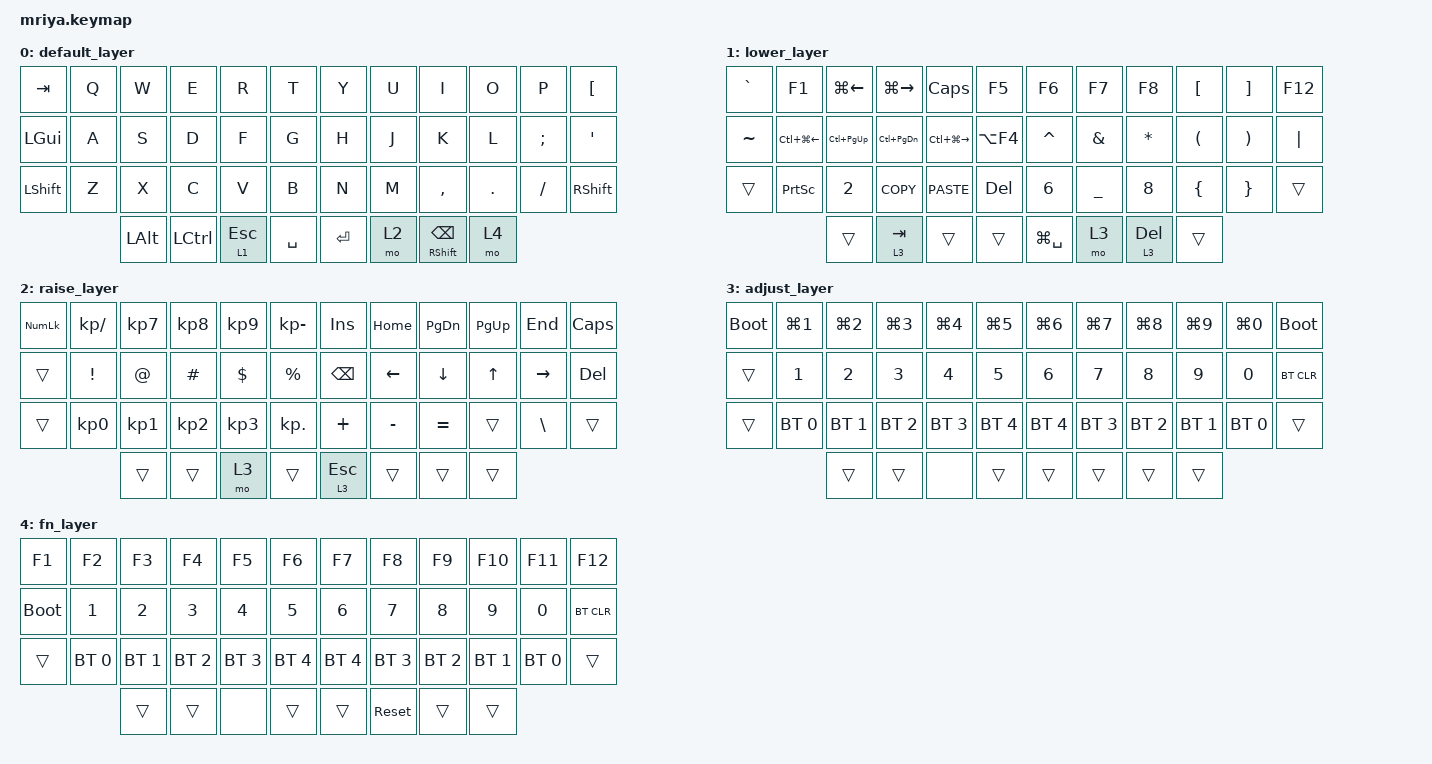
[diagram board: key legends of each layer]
#include <behaviors.dtsi>
#include <dt-bindings/zmk/bt.h>
#include <dt-bindings/zmk/keys.h>

#define DEF 0
#define LWR 1
#define RSE 2
#define ADJ 3
#define FN 4

&lt {
    quick_tap_ms = <200>;
};

&mt {
    quick_tap_ms = <200>;
};

/ {
    keymap {
        compatible = "zmk,keymap";

        default_layer {
            bindings = <

// ╭──────────────────┬──────────────────┬──────────────────┬──────────────────┬──────────────────┬──────────────────╮    ╭──────────────────┬──────────────────┬─────────────────┬──────────────────┬──────────────────┬──────────────────╮
     &kp TAB            &kp Q              &kp W              &kp E              &kp R              &kp T                   &kp Y              &kp U              &kp I             &kp O              &kp P              &kp LBKT
// ├──────────────────┼──────────────────┼──────────────────┼──────────────────┼──────────────────┼──────────────────┤    ├──────────────────┼──────────────────┼─────────────────┼──────────────────┼──────────────────┼──────────────────┤
     &kp LGUI           &kp A              &kp S              &kp D              &kp F              &kp G                   &kp H              &kp J              &kp K             &kp L              &kp SEMI           &kp SQT
// ├──────────────────┼──────────────────┼──────────────────┼──────────────────┼──────────────────┼──────────────────┤    ├──────────────────┼──────────────────┼─────────────────┼──────────────────┼──────────────────┼──────────────────┤
     &kp LSHFT          &kp Z              &kp X              &kp C              &kp V              &kp B                   &kp N              &kp M              &kp COMMA         &kp DOT            &kp FSLH           &kp RSHFT
// ╰──────────────────┴──────────────────┴──────────────────┴──────────────────┼──────────────────┼──────────────────┤    ├──────────────────┼──────────────────┼─────────────────┼──────────────────┼──────────────────┴──────────────────╯
                                           &kp LALT           &kp LCTRL          &lt 1 ESC          &kp SPACE               &kp RET            &mo 2              &mt RSHFT BSPC    &mo 4
//                                       ╰──────────────────┴──────────────────┴──────────────────┴──────────────────╯    ╰──────────────────┴──────────────────┴─────────────────┴──────────────────╯

//   &mt LEFT_ALT TAB  &kp Q  &kp W     &kp E      &kp R      &kp T                 &kp Y    &kp U  &kp I           &kp O    &kp P     &kp LBKT
//   &sk LGUI          &kp A  &kp S     &kp D      &kp F      &kp G                 &kp H    &kp J  &kp K           &kp L    &kp SEMI  &kp SQT
//   &kp LSHFT         &kp Z  &kp X     &kp C      &kp V      &kp B                 &kp N    &kp M  &kp COMMA       &kp DOT  &kp FSLH  &kp RSHFT
//                            &kp LALT  &kp LCTRL  &lt 1 ESC  &kp SPACE             &kp RET  &mo 2  &mt RSHFT BSPC  &mo 4
            >;
        };

        lower_layer {
            bindings = <

// ╭──────────────────┬──────────────────┬──────────────────┬──────────────────┬──────────────────┬──────────────────╮    ╭──────────────────┬──────────────────┬─────────────────┬──────────────────┬──────────────────┬──────────────────╮
     &kp GRAVE          &kp F1             &kp LG(LEFT)       &kp LG(RIGHT)      &kp CAPSLOCK       &kp F5                  &kp F6             &kp F7             &kp F8            &kp LBKT           &kp RBKT           &kp F12
// ├──────────────────┼──────────────────┼──────────────────┼──────────────────┼──────────────────┼──────────────────┤    ├──────────────────┼──────────────────┼─────────────────┼──────────────────┼──────────────────┼──────────────────┤
     &kp TILDE          &kp LC(LG(LEFT))   &kp LC(PG_UP)      &kp LC(PG_DN)      &kp LC(LG(RIGHT))  &kp LA(F4)              &kp CARET          &kp AMPS           &kp STAR          &kp LPAR           &kp RPAR           &kp PIPE
// ├──────────────────┼──────────────────┼──────────────────┼──────────────────┼──────────────────┼──────────────────┤    ├──────────────────┼──────────────────┼─────────────────┼──────────────────┼──────────────────┼──────────────────┤
     &trans             &kp PSCRN          &kp N2             &kp K_COPY         &kp K_PASTE        &kp DEL                 &kp N6             &kp UNDER          &kp N8            &kp LBRC           &kp RBRC           &trans
// ╰──────────────────┴──────────────────┴──────────────────┴──────────────────┼──────────────────┼──────────────────┤    ├──────────────────┼──────────────────┼─────────────────┼──────────────────┼──────────────────┴──────────────────╯
                                           &trans             &lt 3 TAB          &trans             &trans                  &kp LG(SPACE)      &mo 3              &lt 3 DEL         &trans
//                                       ╰──────────────────┴──────────────────┴──────────────────┴──────────────────╯    ╰──────────────────┴──────────────────┴─────────────────┴──────────────────╯

//   &kp GRAVE  &kp F1            &kp LG(LEFT)   &kp LG(RIGHT)  &kp F4             &kp F5        &kp F6         &kp F7     &kp F8     &kp LBKT  &kp RBKT  &kp F12
//   &kp TILDE  &kp LC(LG(LEFT))  &kp LC(PG_UP)  &kp LC(PG_DN)  &kp LC(LG(RIGHT))  &kp LA(F4)    &kp CARET      &kp AMPS   &kp STAR   &kp LPAR  &kp RPAR  &kp PIPE
//   &trans     &kp PSCRN         &kp N2         &kp LS(LC(C))  &kp LS(LC(V))      &kp DEL       &kp N6         &kp UNDER  &kp N8     &kp LBRC  &kp RBRC  &trans
//                                &trans         &lt 3 TAB      &trans             &trans        &kp LG(SPACE)  &mo 3      &lt 3 DEL  &trans
            >;
        };

        raise_layer {
            bindings = <

// ╭──────────────────┬──────────────────┬──────────────────┬──────────────────┬──────────────────┬──────────────────╮    ╭──────────────────┬──────────────────┬─────────────────┬──────────────────┬──────────────────┬──────────────────╮
     &kp KP_NUM         &kp KP_SLASH       &kp KP_N7          &kp KP_N8          &kp KP_N9          &kp KP_MINUS            &kp INS            &kp HOME           &kp PG_DN         &kp PG_UP          &kp END            &kp CAPS
// ├──────────────────┼──────────────────┼──────────────────┼──────────────────┼──────────────────┼──────────────────┤    ├──────────────────┼──────────────────┼─────────────────┼──────────────────┼──────────────────┼──────────────────┤
     &trans             &kp EXCL           &kp AT             &kp HASH           &kp DLLR           &kp PRCNT               &kp BSPC           &kp LEFT           &kp DOWN          &kp UP             &kp RIGHT          &kp DEL
// ├──────────────────┼──────────────────┼──────────────────┼──────────────────┼──────────────────┼──────────────────┤    ├──────────────────┼──────────────────┼─────────────────┼──────────────────┼──────────────────┼──────────────────┤
     &trans             &kp KP_N0          &kp KP_N1          &kp KP_N2          &kp KP_N3          &kp KP_DOT              &kp PLUS           &kp MINUS          &kp EQUAL         &trans             &kp BSLH           &trans
// ╰──────────────────┴──────────────────┴──────────────────┴──────────────────┼──────────────────┼──────────────────┤    ├──────────────────┼──────────────────┼─────────────────┼──────────────────┼──────────────────┴──────────────────╯
                                           &trans             &trans             &mo 3              &trans                  &lt 3 ESC          &trans             &trans            &trans
//                                       ╰──────────────────┴──────────────────┴──────────────────┴──────────────────╯    ╰──────────────────┴──────────────────┴─────────────────┴──────────────────╯

//   &kp KP_NUM  &kp KP_SLASH  &kp KP_N7  &kp KP_N8  &kp KP_N9  &kp KP_MINUS    &kp INS    &kp HOME   &kp PG_DN  &kp PG_UP  &kp END    &kp CAPS
//   &trans      &kp EXCL      &kp AT     &kp HASH   &kp DLLR   &kp PRCNT       &kp BSPC   &kp LEFT   &kp DOWN   &kp UP     &kp RIGHT  &kp DEL
//   &trans      &kp KP_N0     &kp KP_N1  &kp KP_N2  &kp KP_N3  &kp KP_DOT      &kp PLUS   &kp MINUS  &kp EQUAL  &trans     &trans     &trans
//                             &trans     &trans     &mo 3      &trans          &lt 3 ESC  &trans     &trans     &trans
            >;
        };

        adjust_layer {
            bindings = <
  &bootloader  &kp LG(N1)    &kp LG(N2)    &kp LG(N3)    &kp LG(N4)    &kp LG(N5)      &kp LG(N6)    &kp LG(N7)    &kp LG(N8)    &kp LG(N9)    &kp LG(N0)    &bootloader
  &trans       &kp N1        &kp N2        &kp N3        &kp N4        &kp N5          &kp N6        &kp N7        &kp N8        &kp N9        &kp N0        &bt BT_CLR
  &trans       &bt BT_SEL 0  &bt BT_SEL 1  &bt BT_SEL 2  &bt BT_SEL 3  &bt BT_SEL 4    &bt BT_SEL 4  &bt BT_SEL 3  &bt BT_SEL 2  &bt BT_SEL 1  &bt BT_SEL 0  &trans
                             &trans        &trans        &none         &trans          &trans        &trans        &trans        &trans
            >;
        };

        fn_layer {
            bindings = <
  &kp F1       &kp F2        &kp F3        &kp F4        &kp F5        &kp F6          &kp F7        &kp F8        &kp F9        &kp F10       &kp F11       &kp F12
  &bootloader  &kp N1        &kp N2        &kp N3        &kp N4        &kp N5          &kp N6        &kp N7        &kp N8        &kp N9        &kp N0        &bt BT_CLR
  &trans       &bt BT_SEL 0  &bt BT_SEL 1  &bt BT_SEL 2  &bt BT_SEL 3  &bt BT_SEL 4    &bt BT_SEL 4  &bt BT_SEL 3  &bt BT_SEL 2  &bt BT_SEL 1  &bt BT_SEL 0  &trans
                             &trans        &trans        &none         &trans          &trans        &sys_reset    &trans        &trans
            >;
        };
    };
};
